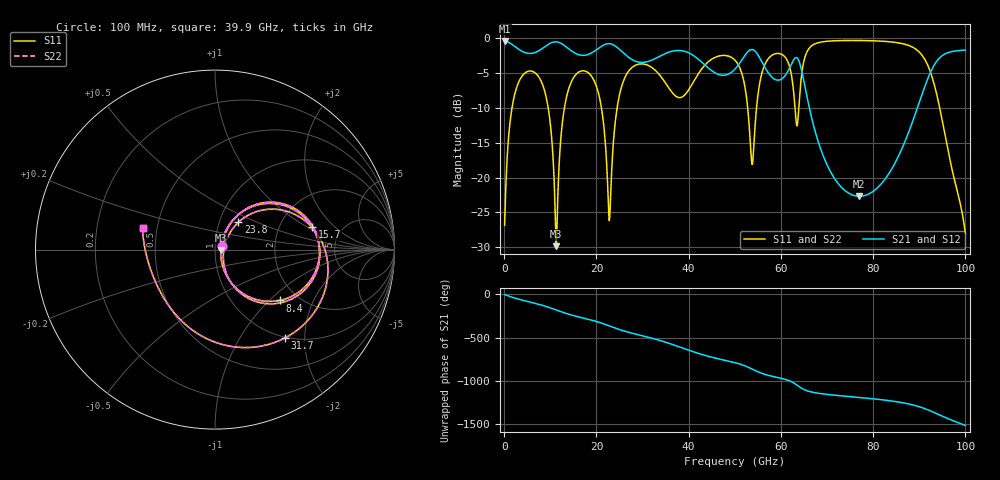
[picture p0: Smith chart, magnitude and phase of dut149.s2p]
! Touchstone file exported from HFSS 2026.1.0
!  File:  C:/ffzhzh/LocalFiles/Ansys_Project_Files/temp_train_TSV_RDL_149_1783644419_29156.aedt
!  Generated:  09:14:20 AM Jul 10, 2026
!  Design:  TSV_RDL
!  Project:  temp_train_TSV_RDL_149_1783644419_29156
! Variables:
!  h_bsmrdl = 2.16um
!  h_ox = 20um
!  h_rdl = 5um
!  h_sub = 97.7um
!  h_tmrdl = 4.1um
!  h_tsv = 97.7um
!  h_via = 3um
!  l_bsmrdl = 648.03um
!  l_sub = 5050.79um
!  l_tmrdl = 651.64um
!  m_sub = 200um
!  pitch = 51.28um
!  r_tsv = 12.22um
!  s_tmrdl = 10um
!  w_bsmrdl = 10.28um
!  w_sub = 500um
!  w_tmrdl = 23.1um
!  x_tsv_center1 = 663.19um
!  x_tsv_center2 = 1321.5um
!  x_tsv_center3 = 1996.24um
!  x_tsv_center4 = 2654.55um
!  x_tsv_center5 = 3329.29um
!  x_tsv_center6 = 3987.6um
# GHz S MA R 50.000000
! Terminal data exported
! Port[1] = TM_RDL1_1_T1
! Port[2] = TM_RDL5_1_T1
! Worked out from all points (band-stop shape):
!   1000 points, 100 MHz to 100 GHz, reference 50 ohm
!   highest |S21| = -0.36 dB at 100 MHz (marker M1); lowest = -22.7 dB at 77 GHz (marker M2)
!   |S21| within 3 dB of the highest: start of sweep to 28.82 GHz; 30.97 GHz to 42.73 GHz (11.76 GHz wide, 31.9 % of centre) (the widest 2 of 5)
!   lowest |S11| = -29.9 dB at 11.3 GHz (marker M3), VSWR 1.07, Z = 53.3 - j0.161 ohm
!   |S11| at or under -10 dB: 9.549 GHz to 13.06 GHz (3.514 GHz wide, 31.1 % of centre); 21.09 GHz to 24.49 GHz (3.392 GHz wide, 14.9 % of centre); 94.43 GHz to end of sweep (the widest 3 of 6)
!   |S22| runs from -29.9 to -0.3 dB; largest |S21 - S12| = 1.1e-12
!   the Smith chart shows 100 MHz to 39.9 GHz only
!   S11 on the Smith chart (normalised r, x): 100 MHz: 1.08, +0.04; 8.4 GHz: 1.62, -1.16; 15.7 GHz: 3.07, +1.10; 23.8 GHz: 1.23, +0.39; 31.7 GHz: 0.98, -1.60; 39.9 GHz: 0.41, +0.12
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0.1  0.04554 26.1  0.9596 -2.0  0.9596 -2.0  0.04554 26.1
! Gamma 0 0 0 0
! Port Impedance 50 0 50 0
2.7  0.4424 36.0  0.8564 -48.9  0.8564 -48.9  0.4424 36.0
8.4  0.4584 -38.1  0.8514 -128.5  0.8514 -128.5  0.4584 -38.1
11.3  0.03211 -2.7  0.9445 178.9  0.9445 178.9  0.03207 -2.8
15.7  0.5565 12.9  0.7737 105.3  0.7737 105.3  0.5564 12.9
16.8  0.5836 -0.7  0.7558 90.7  0.7558 90.7  0.5836 -0.7
22.7  0.05364 -29.5  0.9168 -3.6  0.9168 -3.6  0.05363 -29.5
23.8  0.1999 49.4  0.8942 -25.5  0.8942 -25.5  0.1999 49.4
31.7  0.6274 -51.8  0.6914 -142.1  0.6914 -142.1  0.6274 -51.8
33.4  0.5608 -76.2  0.7347 -167.4  0.7347 -167.4  0.5608 -76.2
39.9  0.4219 163.1  0.7904 76.2  0.7904 76.2  0.422 163.2
44.9  0.705 81.1  0.5891 -6.2  0.5891 -6.2  0.705 81.1
50.1  0.6936 21.6  0.6042 -71.4  0.6042 -71.4  0.6935 21.5
54.7  0.3121 78.2  0.7892 -168.8  0.7892 -168.8  0.3122 78.2
62.2  0.5638 -4.7  0.6444 71.4  0.6444 71.4  0.5636 -4.8
66.7  0.8864 29.1  0.2658 -51.1  0.2658 -51.1  0.8864 29.1
77  0.9656 -23.5  0.07331 -113.2  0.07331 -113.2  0.9656 -23.5
83.4  0.9467 -56.3  0.1066 -149.7  0.1066 -149.7  0.9466 -56.3
88.8  0.8555 -104.3  0.2663 157.7  0.2663 157.7  0.8555 -104.4
93.5  0.4329 169.7  0.6643 65.7  0.6643 65.7  0.4331 169.6
96.5  0.1417 98.5  0.7951 -4.6  0.7951 -4.6  0.1419 98.6
100  0.03951 26.3  0.8236 -77.5  0.8236 -77.5  0.03931 26.0
